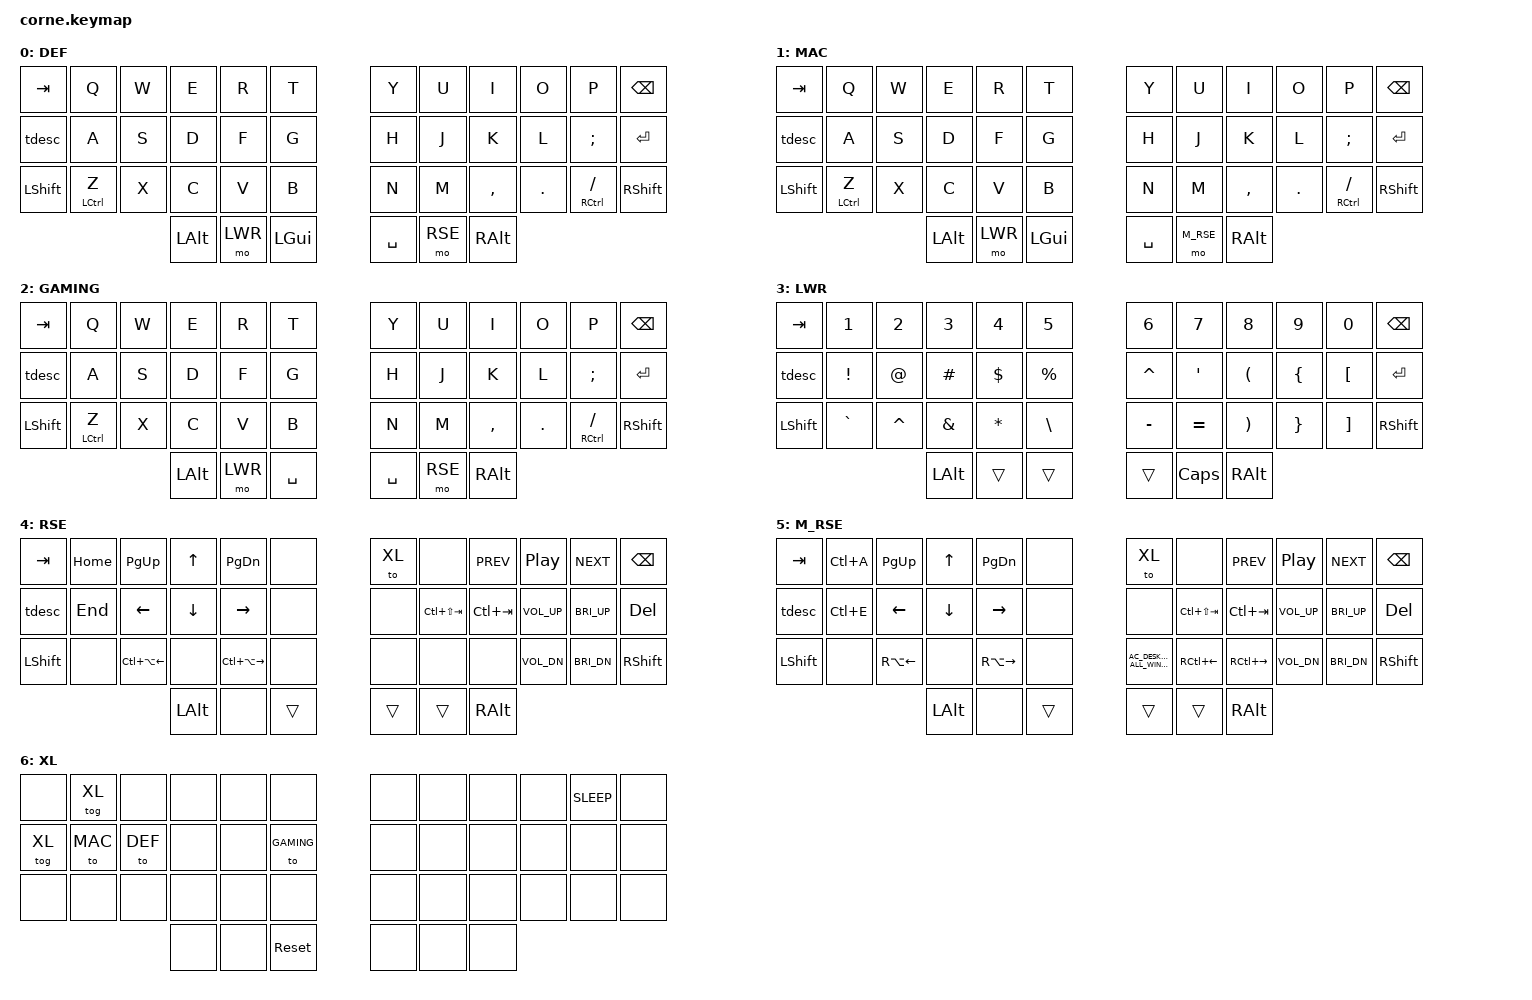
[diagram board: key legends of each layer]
/*
 * Copyright (c) 2020 The ZMK Contributors
 *
 * SPDX-License-Identifier: MIT
 */

#include <behaviors.dtsi>
#include <dt-bindings/zmk/keys.h>


// layer shortcuts (note: zmk only allows you to access higher index layers from any given layer)
#define DEF  0
#define MAC  1
#define GAMING 2
#define LWR  3
#define RSE  4
#define M_RSE 5
#define XL  6  // switch layer


// navigation shortcuts

#define ZCTRL  &mt LCTRL Z
#define SCTRL  &mt RCTRL FSLH
// back / forward a word
#define LWRD  &kp LC(LA(LEFT))
#define RWRD  &kp LC(LA(RIGHT))
// previous / next tab
#define TABP  &kp LC(LS(TAB))  // ctrl + shift + tab
#define TABN  &kp LC(TAB)      // ctrl + tab
// mac specific shortcuts
#define M_HOME  &kp LC(A)     // Ctrl+A, Ctrl+E globally works in Mac for start / end of line (including terminal / chrome / etc).
#define M_END  &kp LC(E)
#define LWRD_M  &kp RA(LEFT)  // Mac uses Alt+Left instead of Ctrl+Left to skip words with the cursor.
#define RWRD_M  &kp RA(RIGHT)
#define SPC_P  &kp RC(LEFT)  // Next / previous space (ctrl+left/right must be set in preferences>keyboard shortcuts).
#define SPC_N  &kp RC(RIGHT)
// mac mission control
#define MSCTL &kp C_AC_DESKTOP_SHOW_ALL_WINDOWS

// set mod-tap duration
&mt {
        flavor = "balanced";  // same as PERMISSIVE_HOLD in qmk.
};

/ {
        behaviors {
                tdesc: tilde_escape {
                        compatible = "zmk,behavior-mod-morph";
                        #binding-cells = <0>;
                        bindings = <&kp ESC>, <&kp TILDE>;
                        mods = <(MOD_LGUI|MOD_LSFT|MOD_RGUI|MOD_RSFT)>;
                };
        };

        keymap {
                compatible = "zmk,keymap";

                default_layer {
                        label = "DEF";
// (0)
// ,-----------------------------------------------------------------------------------.
// | Tab  |   Q  |   W  |   E  |   R  |   T  |   Y  |   U  |   I  |   O  |   P  | Bksp |
// |------+------+------+------+------+------+------+------+------+------+------+------|
// | Esc  |   A  |   S  |   D  |   F  |   G  |   H  |   J  |   K  |   L  |   ;  |  Ent |
// |------+------+------+------+------+------+------+------+------+------+------+------|
// | Shift|Z/ctrl|   X  |   C  |   V  |   B  |   N  |   M  |   ,  |   .  | /ctrl| Shift|
// |------+------+------+------+------+------+------+------+------+------+------+------|
// |                    | Alt  | Lower|  Win |  Spc | Raise| Alt  |                    |
// `-----------------------------------------------------------------------------------'
                        bindings = <
   &kp TAB    &kp Q    &kp W    &kp E     &kp R    &kp T     &kp Y      &kp U    &kp I      &kp O    &kp P     &kp BSPC
   &tdesc     &kp A    &kp S    &kp D     &kp F    &kp G     &kp H      &kp J    &kp K      &kp L    &kp SEMI  &kp RET
   &kp LSHFT  ZCTRL    &kp X    &kp C     &kp V    &kp B     &kp N      &kp M    &kp COMMA  &kp DOT  SCTRL     &kp RSHFT
                                &kp LALT  &mo LWR  &kp LGUI  &kp SPACE  &mo RSE  &kp RALT
                        >;
                };
// -----------------------------------------------------------------------------------------
                mac_layer {
                        label = "MAC";

// (1): cmd instead of win; mac_raise instead of raise
// ,-----------------------------------------------------------------------------------.
// | Tab  |   Q  |   W  |   E  |   R  |   T  |   Y  |   U  |   I  |   O  |   P  | Bksp |
// |------+------+------+------+------+------+------+------+------+------+------+------|
// | Esc  |   A  |   S  |   D  |   F  |   G  |   H  |   J  |   K  |   L  |   ;  |  Ent |
// |------+------+------+------+------+------+------+------+------+------+------+------|
// | Shift| Zctrl|   X  |   C  |   V  |   B  |   N  |   M  |   ,  |   .  | /ctrl| Shift|
// |------+------+------+------+------+------+------+------+------+------+------+------|
// |                    | Alt  | Lower| Cmd  |  Spc | Raise| Alt  |                    |
// `-----------------------------------------------------------------------------------'
                        bindings = <
   &kp TAB    &kp Q    &kp W    &kp E     &kp R    &kp T     &kp Y      &kp U      &kp I      &kp O    &kp P     &kp BSPC
   &tdesc     &kp A    &kp S    &kp D     &kp F    &kp G     &kp H      &kp J      &kp K      &kp L    &kp SEMI  &kp RET
   &kp LSHFT  ZCTRL    &kp X    &kp C     &kp V    &kp B     &kp N      &kp M      &kp COMMA  &kp DOT  SCTRL     &kp RSHFT
                                &kp LALT  &mo LWR  &kp LGUI  &kp SPACE  &mo M_RSE  &kp RALT
                        >;
                };
// -----------------------------------------------------------------------------------------
                gaming_layer {
                        label = "GAMING";

// (2): same as default except convert left Win to Space (left hand jump key)
// ,-----------------------------------------------------------------------------------.
// |  __  |  __  |  __  |  __  |  __  |  __  |  __  |  __  |  __  |  __  |  __  |  __  |
// |------+------+------+------+------+------+------+------+------+------+------+------|
// |  __  |  __  |  __  |  __  |  __  |  __  |  __  |  __  |  __  |  __  |  __  |  __  |
// |------+------+------+------+------+------+------+------+------+------+------+------|
// |  __  |  __  |  __  |  __  |  __  |  __  |  __  |  __  |  __  |  __  |  __  |  __  |
// |------+------+------+------+------+------+------+------+------+------+------+------|
// |                    |  __  |  __  |  Spc |  __  |  __  |  __  |                    |
// `-----------------------------------------------------------------------------------'
                        bindings = <
   &kp TAB    &kp Q    &kp W    &kp E     &kp R    &kp T     &kp Y      &kp U    &kp I      &kp O    &kp P     &kp BSPC
   &tdesc     &kp A    &kp S    &kp D     &kp F    &kp G     &kp H      &kp J    &kp K      &kp L    &kp SEMI  &kp RET
   &kp LSHFT  ZCTRL    &kp X    &kp C     &kp V    &kp B     &kp N      &kp M    &kp COMMA  &kp DOT  SCTRL     &kp RSHFT
                                &kp LALT  &mo LWR  &kp SPACE &kp SPACE  &mo RSE  &kp RALT
                        >;
                };
// -----------------------------------------------------------------------------------------
                lower_layer {
                        label = "LWR";
// (3)
// ,-----------------------------------------------------------------------------------.
// | Tab  |   1  |   2  |   3  |   4  |   5  |   6  |   7  |   8  |   9  |   0  | Bksp |
// |------+------+------+------+------+------+------+------+------+------+------+------|
// | Esc  |   !  |   @  |   #  |   $  |   %  |   ^  |   (  |   {  |   [  |   [  | Enter|
// |------+------+------+------+------+------+------+------+------+------+------+------|
// | Shift|   `  |   ^  |   &  |   *  |   \  |   -  |   )  |   }  |   ]  |   ]  | Shift|
// |------+------+------+------+------+------+------+------+------+------+------+------|
// |                    | Alt  |  __  |      |      | Caps | Alt  |                    |
// `-----------------------------------------------------------------------------------'
                        bindings = <
   &kp TAB    &kp N1     &kp N2     &kp N3    &kp N4     &kp N5     &kp N6     &kp N7     &kp N8    &kp N9    &kp N0    &kp BSPC
   &tdesc     &kp EXCL   &kp AT     &kp HASH  &kp DLLR   &kp PRCNT  &kp CARET  &kp APOS   &kp LPAR  &kp LBRC  &kp LBKT  &kp RET
   &kp LSHFT  &kp GRAVE  &kp CARET  &kp AMPS  &kp ASTRK  &kp BSLH   &kp MINUS  &kp EQUAL  &kp RPAR  &kp RBRC  &kp RBKT  &kp RSHFT
                                    &kp LALT  &trans     &trans     &trans     &kp CAPS   &kp RALT
                        >;
                };
// -----------------------------------------------------------------------------------------
                raise_layer {
                        label = "RSE";
// (4)
// ,-----------------------------------------------------------------------------------.
// |  Tab | Home | Pg.Up|  Up  |Pg.Dwn|      |SWITCH|      |M.Prev|PlayPa|M.Next| Bksp |
// |------+------+------+------+------+------+------+------+------+------+------+------|
// |  Esc | End  | Left | Down | Right|      |      | TabN | TabP | VolUp| BriUp|  Del |
// |------+------+------+------+------+------+------+------+------+------+------+------|
// | Shift|      | WordL|      | WordR|      |      |      |      | VolDn| BriDn| Shift|
// |------+------+------+------+------+------+------+------+------+------+------+------|
// |                    | Alt  |      |      |      |  __  | Alt  |                    |
// `-----------------------------------------------------------------------------------'
                        bindings = <
   &kp TAB    &kp HOME  &kp PG_UP  &kp UP    &kp PG_DN  &none    &to XL  &none   &kp C_PREV  &kp C_PP      &kp C_NEXT    &kp BSPC
   &tdesc     &kp END   &kp LEFT   &kp DOWN  &kp RIGHT  &none    &none   TABP    TABN        &kp C_VOL_UP  &kp C_BRI_UP  &kp DEL
   &kp LSHFT  &none     LWRD       &none     RWRD       &none    &none   &none   &none       &kp C_VOL_DN  &kp C_BRI_DN  &kp RSHFT
                                   &kp LALT  &none      &trans   &trans  &trans  &kp RALT
                        >;
                };
// -----------------------------------------------------------------------------------------
                mac_raise_layer {
                        label = "M_RSE";

// (5): raise with mac specific key codes
// ,-----------------------------------------------------------------------------------.
// |  Tab | Home | Pg.Up|  Up  |Pg.Dwn|      |SWITCH|      |M.Prev|PlayPa|M.Next| Bksp |
// |------+------+------+------+------+------+------+------+------+------+------+------|
// |  Esc | End  | Left | Down | Right|      |      | TabN | TabP | VolUp| BriUp|  Del |
// |------+------+------+------+------+------+------+------+------+------+------+------|
// | Shift|      | WordL|      | WordR|      |MisCtl|SpaceN|SpaceP| VolDn| BriDn| Shift|
// |------+------+------+------+------+------+------+------+------+------+------+------|
// |                    | Alt  |      |  Cmd |  Spc |  __  | Alt  |                    |
// `-----------------------------------------------------------------------------------'
                        bindings = <
   &kp TAB    M_HOME   &kp PG_UP  &kp UP    &kp PG_DN  &none    &to XL     &none   &kp C_PREV  &kp C_PP      &kp C_NEXT    &kp BSPC
   &tdesc     M_END    &kp LEFT   &kp DOWN  &kp RIGHT  &none    &none      TABP    TABN        &kp C_VOL_UP  &kp C_BRI_UP  &kp DEL
   &kp LSHFT  &none    LWRD_M     &none     RWRD_M     &none    MSCTL      SPC_P   SPC_N       &kp C_VOL_DN  &kp C_BRI_DN  &kp RSHFT
                                  &kp LALT  &none      &trans   &trans     &trans  &kp RALT
                        >;
                };
// -----------------------------------------------------------------------------------------
                switch_layer {
                        label = "XL";

// (6): select mac / win / linux i3 / gaming modes
// ,------------------------------------------------------------------------------------.
// |  __  |  __  |  __  |  __  |  __  |  __  |  __  |  __  |  __  |  __  |K.SLEEP|  __  |
// |------+------+------+------+------+------+------+------+------+------+-------+------|
// |  __  |  Mac |  Win |  i3  |  __  |Gaming|  __  |  __  |  __  |  __  |  __   |  __  |
// |------+------+------+------+------+------+------+------+------+------+-------+------|
// |  __  |  __  |  __  |  __  |  __  |  __  |  __  |  __  |  __  |  __  |  __   |  __  |
// |------+------+------+------+------+------+------+------+------+------+-------+------|
// |                    |  __  |  __  | Reset|  __  |  __  |  __  |                     |
// `------------------------------------------------------------------------------------'
                        bindings = <
   &none    &tog XL   &none     &none   &none   &none       &none   &none   &none   &none   &kp K_SLEEP  &none
   &tog XL  &to MAC   &to DEF   &none   &none   &to GAMING  &none   &none   &none   &none   &none        &none
   &none    &none     &none     &none   &none   &none       &none   &none   &none   &none   &none        &none
                                &none   &none   &sys_reset  &none   &none   &none
                        >;
                };
        };
};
